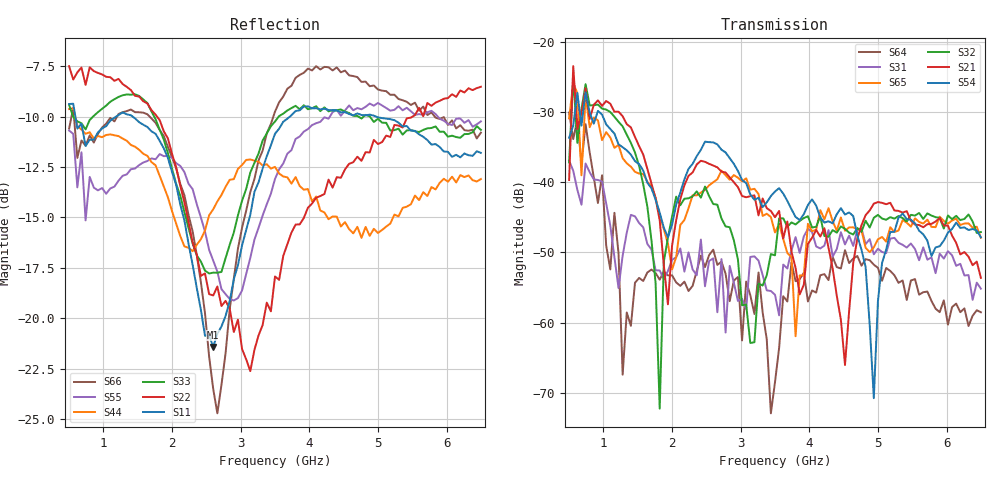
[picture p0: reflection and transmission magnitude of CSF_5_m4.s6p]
!Keysight Technologies,M9804A,MY58100912,A.14.10.03
!Date: Thursday, April 27, 2023 10:28:33
!Correction: S11(C  6-Port  )
!S12(C  6-Port  )
!S13(C  6-Port  )
!S14(C  6-Port  )
!S15(C  6-Port  )
!S16(C  6-Port  )
!S21(C  6-Port  )
!S22(C  6-Port  )
!S23(C  6-Port  )
!S24(C  6-Port  )
!S25(C  6-Port  )
!S26(C  6-Port  )
!S31(C  6-Port  )
!S32(C  6-Port  )
!S33(C  6-Port  )
!S34(C  6-Port  )
!S35(C  6-Port  )
!S36(C  6-Port  )
!S41(C  6-Port  )
!S42(C  6-Port  )
!S43(C  6-Port  )
!S44(C  6-Port  )
!S45(C  6-Port  )
!S46(C  6-Port  )
!S51(C  6-Port  )
!S52(C  6-Port  )
!S53(C  6-Port  )
!S54(C  6-Port  )
!S55(C  6-Port  )
!S56(C  6-Port  )
!S61(C  6-Port  )
!S62(C  6-Port  )
!S63(C  6-Port  )
!S64(C  6-Port  )
!S65(C  6-Port  )
!S66(C  6-Port  )
!S6P File: Measurement: :
# Hz S  RI  R 50
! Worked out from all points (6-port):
!   101 points, 500 MHz to 6.5 GHz, reference 50 ohm
!   strongest paths, dB at 500 MHz, 2 GHz, 3.5 GHz, 5 GHz, 6.5 GHz:
!     S54: -33.7, -46.1, -41.3, -56.9, -47.9
!     S21: -39.7, -49.0, -45.0, -42.8, -53.6
!     S32: -37.2, -44.9, -50.4, -44.7, -47.1
!     S65: -30.9, -52.4, -47.2, -48.1, -47.9
!     S31: -37.0, -51.1, -56.0, -49.5, -55.2
!     S64: -30.1, -53.3, -68.5, -52.2, -58.5
!   lowest |S11| = -21.4 dB at 2.6 GHz (marker M1), VSWR 1.19, Z = 42.5 + j2.26 ohm
!   |S11| at or under -10 dB: 591.2 MHz to 1.183 GHz (592.2 MHz wide, 66.7 % of centre); 1.427 GHz to 3.715 GHz (2.288 GHz wide, 89 % of centre); 4.976 GHz to end of sweep
